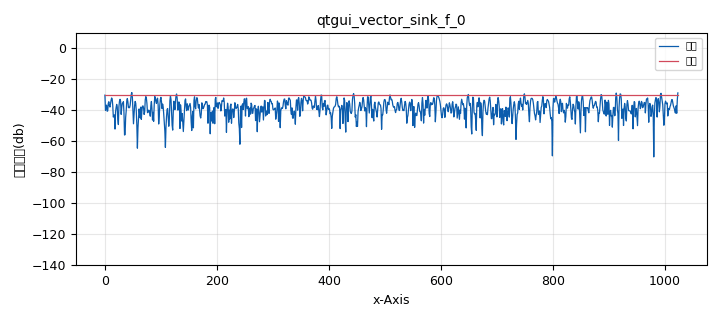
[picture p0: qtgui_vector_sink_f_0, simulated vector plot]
options:
  parameters:
    author: btfz
    generate_options: qt_gui
    id: db_test
    output_language: python
    title: Not titled yet
  states: {}

blocks:
- name: amp_on_14db
  id: variable_qtgui_check_box
  parameters:
    'false': 'False'
    gui_hint: 2,1,1,1
    label: amp_on_+14db
    'true': 'True'
    type: int
    value: 'False'
  states: {}
- name: bandwidth
  id: variable_qtgui_chooser
  parameters:
    gui_hint: 2,0,1,1
    label0: '"auto"'
    label1: '"10M"'
    label2: '"20M"'
    num_opts: '3'
    option0: '0'
    option1: '10000000'
    option2: '20000000'
    type: int
    value: '10000000'
  states: {}
- name: center_freq
  id: variable_qtgui_range
  parameters:
    gui_hint: 3,0,1,4
    start: '80'
    step: '0.1'
    stop: '120'
    value: '93'
  states: {}
- name: if_gain
  id: variable_qtgui_range
  parameters:
    gui_hint: 0,0,1,2
    rangeType: int
    start: '0'
    step: '1'
    stop: '40'
    value: '16'
  states: {}
- name: samp_rate
  id: variable
  parameters:
    value: '10000000'
  states: {}
- name: threshold
  id: variable_qtgui_range
  parameters:
    label: threshold(abs(db)
    rangeType: int
    start: '0'
    step: '1'
    stop: '100'
    value: '30'
  states: {}
- name: vec_len
  id: variable
  parameters:
    value: '1024'
  states: {}
- name: vga_gain
  id: variable_qtgui_range
  parameters:
    gui_hint: 1,0,1,2
    rangeType: int
    start: '0'
    step: '1'
    stop: '62'
    value: '16'
  states: {}
- name: analog_const_source_x_0
  id: analog_const_source_x
  parameters:
    const: '-threshold'
    type: float
  states: {}
- name: analog_noise_source_x_0
  id: analog_noise_source_x
  parameters:
    amp: '1'
    noise_type: analog.GR_GAUSSIAN
    seed: '0'
    type: complex
  states: {}
- name: blocks_abs_xx_0
  id: blocks_abs_xx
  parameters:
    comment: |-
      因为信号强度是小于0的负数，
      这里做绝对值处理，方便看
    type: float
  states: {}
- name: blocks_abs_xx_0_0
  id: blocks_abs_xx
  parameters:
    comment: |-
      因为信号强度是小于0的负数，
      这里做绝对值处理，方便看
    type: float
  states: {}
- name: blocks_complex_to_mag_squared_0
  id: blocks_complex_to_mag_squared
  parameters:
    comment: |-
      该模块输入一个复数样本，
      然后计算每个样本的平方幅度
      （复数模的平方）。
    vlen: vec_len
  states: {}
- name: blocks_max_xx_0
  id: blocks_max_xx
  parameters:
    comment: 求最大值
    type: float
    vlen: vec_len
    vlen_out: '1'
  states: {}
- name: blocks_max_xx_0_0
  id: blocks_max_xx
  parameters:
    comment: 求最大值
    type: float
    vlen: vec_len
    vlen_out: '1'
  states: {}
- name: blocks_message_debug_0
  id: blocks_message_debug
  parameters: {}
  states: {}
- name: blocks_multiply_const_xx_0
  id: blocks_multiply_const_xx
  parameters:
    comment: |-
      output = input * scalar constant
      采用矢量优化内核库来提升速度
    const: 1/vec_len
    type: complex
    vlen: vec_len
  states: {}
- name: blocks_nlog10_ff_0
  id: blocks_nlog10_ff
  parameters:
    comment: output = n*log10(input) + k
    k: '0'
    n: '10'
    vlen: vec_len
  states: {}
- name: blocks_stream_to_vector_0
  id: blocks_stream_to_vector
  parameters:
    comment: |-
      Convert a stream of items into 
      a stream of 
      vectors containing Num Items
    num_items: vec_len
    type: complex
  states: {}
- name: blocks_stream_to_vector_1
  id: blocks_stream_to_vector
  parameters:
    num_items: vec_len
    type: float
  states: {}
- name: blocks_throttle_0
  id: blocks_throttle
  parameters:
    samples_per_second: samp_rate
    type: complex
  states: {}
- name: blocks_throttle_0_0
  id: blocks_throttle
  parameters:
    samples_per_second: samp_rate
    type: float
  states: {}
- name: epy_block_0
  id: epy_block
  parameters:
    _source_code: |
      """
      Embedded Python Blocks:

      Each time this file is saved, GRC will instantiate the first class it finds
      to get ports and parameters of your block. The arguments to __init__  will
      be the parameters. All of them are required to have default values!
      """

      import numpy as np
      import pmt
      from gnuradio import gr


      class blk(gr.sync_block):  # other base classes are basic_block, decim_block, interp_block
          """Embedded Python Block example - a simple multiply const"""

          def __init__(self):  # only default arguments here
              """arguments to this function show up as parameters in GRC"""
              gr.sync_block.__init__(
                  self,
                  name='Judge Threshold',   # will show up in GRC
                  in_sig=[np.float32,np.float32],
                  out_sig=[np.float32]
              )
              # if an attribute with the same name as a parameter is found,
              # a callback is registered (properties work, too).
              # https://wiki.gnuradio.org/index.php/Python_Block_Message_Passing
              self.state_port_name = 'State'
              self.state = 0
              self.message_port_register_out(pmt.intern(self.state_port_name))
          def work(self, input_items, output_items):
              """example: multiply with constant"""
              output_items[0][:] = input_items[0]
              
              min_value = min(input_items[0])
              #print(min_value)
              if min_value <= input_items[1][0] and self.state == 0:
                  self.state = 1
                  # https://stackoverflow.com/questions/69505460/how-to-change-the-precision-of-a-value-in-a-pmt-pairs
                  # 用 LED 的 DEMO 中的按键打印其事件，然后模仿发现是发信息对
                  # https://github.com/ghostop14/gr-guiextra/issues/4 这个老哥遇到问题
                  PMT_msg = msg = pmt.cons(pmt.intern("Value"), pmt.to_pmt(self.state)) 
                  self.message_port_pub(pmt.intern(self.state_port_name), PMT_msg)
              elif min_value > input_items[1][0] and self.state == 1:
                  self.state = 0
                  PMT_msg = msg = pmt.cons(pmt.intern("Value"), pmt.to_pmt(self.state))
                  self.message_port_pub(pmt.intern(self.state_port_name), PMT_msg)

              return len(output_items[0])
  states: {}
- name: fft_vxx_0
  id: fft_vxx
  parameters:
    comment: |-
      该块接收浮点数或复数值向量并计算FFT
      请注意，即使输入信号是实数，输出也会是复数，
      因此如果您想查看幅度， 则必须使用Complex to Mag或类似模块
    fft_size: '1024'
    forward: 'True'
    shift: 'True'
    type: complex
    window: window.blackmanharris(1024)
  states: {}
- name: osmosdr_source_0
  id: osmosdr_source
  parameters:
    args: '"hackrf=0"'
    bb_gain0: vga_gain
    bw0: bandwidth
    freq0: int(center_freq*1e6)
    gain0: '10'
    gain_mode0: amp_on_14db
    if_gain0: if_gain
    sample_rate: samp_rate
    sync: sync
    type: fc32
  states: {state: disabled}
- name: qtgui_freq_sink_x_0
  id: qtgui_freq_sink_x
  parameters:
    bw: samp_rate
    fc: center_freq*1e6
    fftsize: '1024'
    type: complex
  states: {state: disabled}
- name: qtgui_graphicitem_0
  id: qtgui_graphicitem
  parameters:
    comment: 好看，显示个图片
    file: hackrfusage.jpeg
    gui_hint: 0,2,3,2
  states: {}
- name: qtgui_ledindicator_0
  id: qtgui_ledindicator
  parameters:
    label: '"超过阈值指示灯"'
    offColor: gray
    onColor: red
  states: {}
- name: qtgui_number_sink_0
  id: qtgui_number_sink
  parameters:
    avg: '0.5'
    color1: ("blue", "red")
    graph_type: qtgui.NUM_GRAPH_HORIZ
    label1: max
    max: '100'
    min: '0'
    type: float
  states: {}
- name: qtgui_vector_sink_f_0
  id: qtgui_vector_sink_f
  parameters:
    label1: '"接收"'
    label2: '"阈值"'
    nconnections: '2'
    vlen: vec_len
    x_start: '0'
    x_step: '1.0'
    y_axis_label: '"相对增益(db)"'
  states: {}
- name: soapy_hackrf_source_0
  id: soapy_hackrf_source
  parameters:
    center_freq: int(center_freq*1e6)
    samp_rate: samp_rate
    type: fc32
  states: {state: disabled}

connections:
- [analog_const_source_x_0, '0', blocks_throttle_0_0, '0']
- [analog_noise_source_x_0, '0', blocks_throttle_0, '0']
- [analog_noise_source_x_0, '0', qtgui_freq_sink_x_0, '0']
- [blocks_abs_xx_0, '0', epy_block_0, '0']
- [blocks_abs_xx_0_0, '0', epy_block_0, '1']
- [blocks_complex_to_mag_squared_0, '0', blocks_nlog10_ff_0, '0']
- [blocks_max_xx_0, '0', blocks_abs_xx_0, '0']
- [blocks_max_xx_0_0, '0', blocks_abs_xx_0_0, '0']
- [blocks_multiply_const_xx_0, '0', blocks_complex_to_mag_squared_0, '0']
- [blocks_nlog10_ff_0, '0', blocks_max_xx_0, '0']
- [blocks_nlog10_ff_0, '0', qtgui_vector_sink_f_0, '0']
- [blocks_stream_to_vector_0, '0', fft_vxx_0, '0']
- [blocks_stream_to_vector_1, '0', blocks_max_xx_0_0, '0']
- [blocks_stream_to_vector_1, '0', qtgui_vector_sink_f_0, '1']
- [blocks_throttle_0, '0', blocks_stream_to_vector_0, '0']
- [blocks_throttle_0_0, '0', blocks_stream_to_vector_1, '0']
- [epy_block_0, '0', qtgui_number_sink_0, '0']
- [epy_block_0, State, blocks_message_debug_0, print]
- [epy_block_0, State, qtgui_ledindicator_0, state]
- [fft_vxx_0, '0', blocks_multiply_const_xx_0, '0']
- [osmosdr_source_0, '0', blocks_throttle_0, '0']
- [osmosdr_source_0, '0', qtgui_freq_sink_x_0, '0']
- [soapy_hackrf_source_0, '0', qtgui_freq_sink_x_0, '0']

metadata:
  file_format: 1
  grc_version: 3.10.12.0
